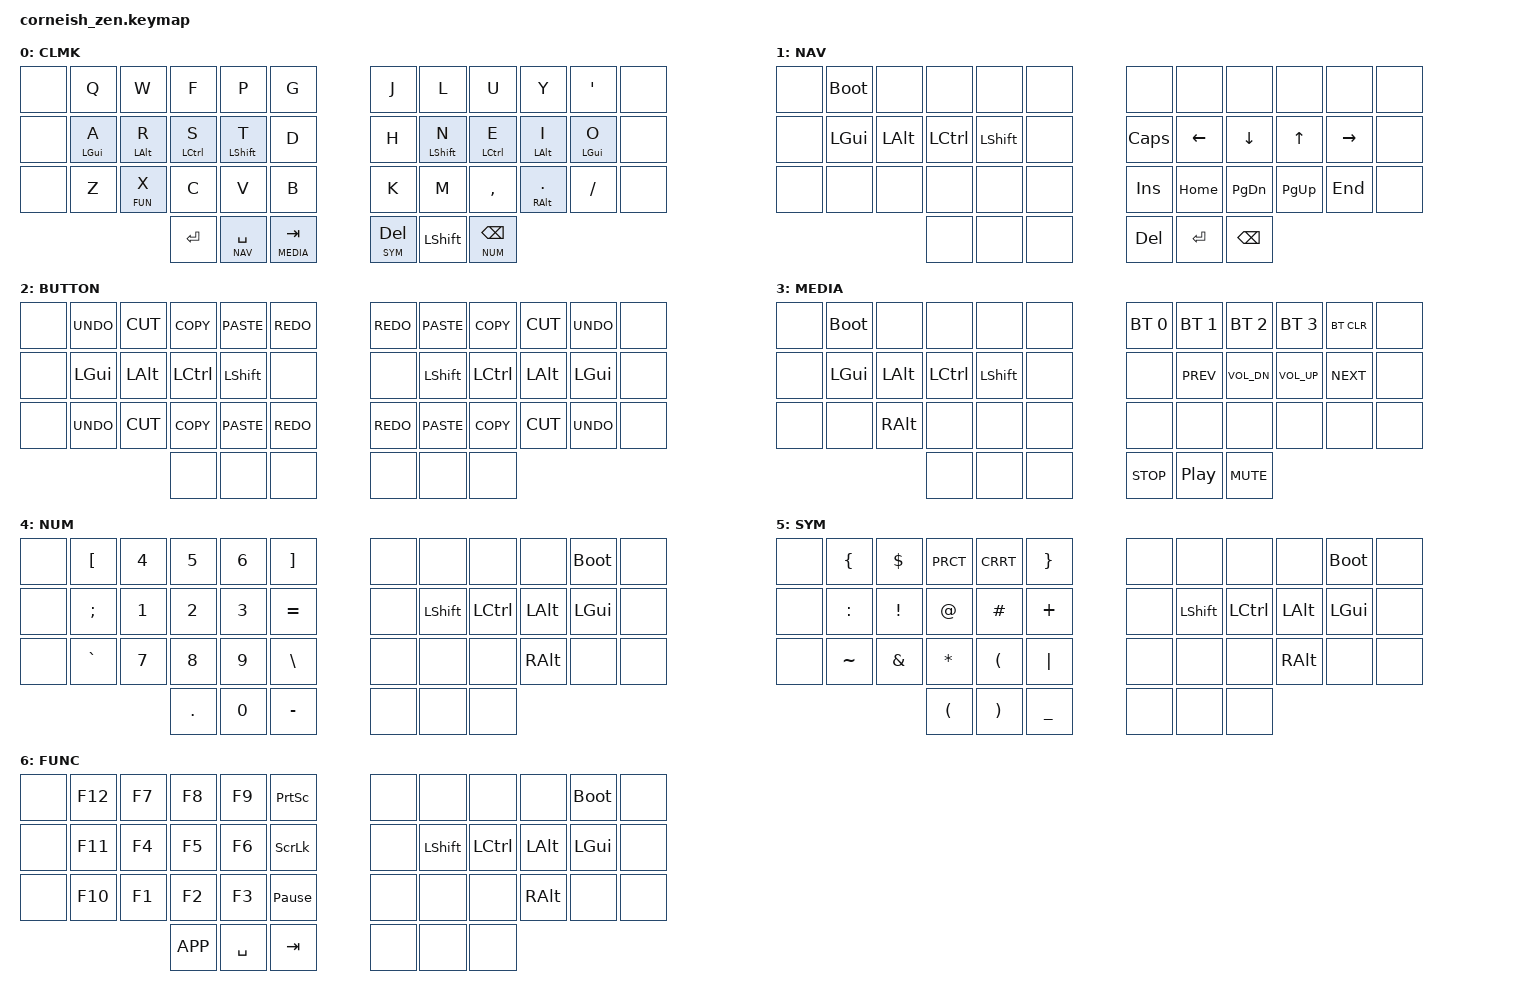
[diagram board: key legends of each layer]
#include <behaviors.dtsi>
#include <dt-bindings/zmk/keys.h>
#include <dt-bindings/zmk/bt.h>

#define BASE 0
#define NAV 1
#define BUTTON 2
#define MEDIA 3
#define NUM 4
#define SYM 5
#define FUN 6

#define U_BTN1 &none
#define U_BTN2 &none
#define U_BTN3 &none

/ {
  chosen {
    zmk,matrix_transform = &default_transform;
    //zmk,matrix_transform = &five_column_transform;
  };
};

&lt {
        tapping-term-ms = <200>;    // <---[[moderate duration]]
        flavor = "balanced";
};

/ {
        behaviors {
                hml: home_row_mod_left {
                        compatible = "zmk,behavior-hold-tap";
                        label = "HOME_ROW_MOD_LEFT";
                        #binding-cells = <2>;
                        flavor = "balanced";
                        require-prior-idle-ms = <150>;
                        tapping-term-ms = <280>;
                        quick-tap-ms = <175>;
                        bindings = <&kp>, <&kp>;
                        hold-trigger-key-positions = <6 7 8 9 10 11 18 19 20 21 22 23 30 31 32 33 34 35 39 40 41>;  // right hand + thumbs
                        hold-trigger-on-release;
                };
                hmr: home_row_mod_right {
                        compatible = "zmk,behavior-hold-tap";
                        label = "HOME_ROW_MOD_RIGHT";
                        #binding-cells = <2>;
                        flavor = "balanced";
                        require-prior-idle-ms = <150>;
                        tapping-term-ms = <280>;
                        quick-tap-ms = <175>;
                        bindings = <&kp>, <&kp>;
                        hold-trigger-key-positions = <0 1 2 3 4 5 12 13 14 15 16 17 24 25 26 27 28 29 36 37 38>;  // left hand + thumbs
                        hold-trigger-on-release;
                };
        };

        keymap {
                compatible = "zmk,keymap";

                base_layer {
                        label = "CLMK";
                        bindings = <
&none     &kp Q             &kp W             &kp F             &kp P             &kp G             &kp J             &kp L             &kp U             &kp Y             &kp SQT           &none
&none     &hml LGUI A       &hml LALT R       &hml LCTRL S      &hml LSHFT T      &kp D             &kp H             &hmr LSHFT N      &hmr LCTRL E      &hmr LALT I       &hmr LGUI O       &none
&none     &kp Z             &lt FUN X         &kp C             &kp V             &kp B             &kp K             &kp M             &kp COMMA         &hmr RALT DOT     &kp FSLH          &none
                                    &kp RET           &lt NAV SPC       &lt MEDIA TAB     &lt SYM DEL       &kp LSHFT         &lt NUM BSPC

                        >;
                };
                nav_layer {
                        label = "NAV";
                        bindings = <
&none     &bootloader       &none             &none             &none             &none             &none             &none             &none             &none             &none             &none
&none     &kp LGUI          &kp LALT          &kp LCTRL         &kp LSHFT         &none             &kp CAPS          &kp LEFT          &kp DOWN          &kp UP            &kp RIGHT         &none
&none     &none             &none             &none             &none             &none             &kp INS           &kp HOME          &kp PG_DN         &kp PG_UP         &kp END           &none
                                    &none             &none             &none             &kp DEL           &kp RET           &kp BSPC


                        >;
                };
                button_layer {
                        label = "BUTTON";
                        bindings = <
&none     &kp K_UNDO             &kp K_CUT             &kp K_COPY             &kp K_PASTE             &kp K_REDO             &kp K_REDO             &kp K_PASTE             &kp K_COPY             &kp K_CUT             &kp K_UNDO             &none
&none     &kp LGUI          &kp LALT          &kp LCTRL         &kp LSHFT         &none             &none             &kp LSHFT         &kp LCTRL         &kp LALT          &kp LGUI          &none
&none     &kp K_UNDO             &kp K_CUT             &kp K_COPY             &kp K_PASTE             &kp K_REDO             &kp K_REDO             &kp K_PASTE             &kp K_COPY             &kp K_CUT             &kp K_UNDO             &none
                                    U_BTN2            U_BTN3            U_BTN1            U_BTN1            U_BTN3            U_BTN2            
                        >;
                };
                media_layer {
                        label = "MEDIA";
                        bindings = <
&none     &bootloader       &none             &none             &none             &none             &bt BT_SEL 0      &bt BT_SEL 1      &bt BT_SEL 2      &bt BT_SEL 3      &bt BT_CLR        &none
&none     &kp LGUI          &kp LALT          &kp LCTRL         &kp LSHFT         &none             &none             &kp C_PREV        &kp C_VOL_DN      &kp C_VOL_UP      &kp C_NEXT        &none
&none     &none             &kp RALT          &none             &none             &none             &none             &none             &none             &none             &none             &none
                                    &none             &none             &none             &kp C_STOP        &kp C_PP          &kp C_MUTE

                        >;
                };
                num_layer {
                        label = "NUM";
                        bindings = <
&none     &kp LBKT          &kp NUM_4         &kp NUM_5         &kp NUM_6         &kp RBKT          &none             &none             &none             &none             &bootloader       &none
&none     &kp SEMI          &kp NUM_1         &kp NUM_2         &kp NUM_3         &kp EQL           &none             &kp LSHFT         &kp LCTRL         &kp LALT          &kp LGUI          &none
&none     &kp GRAVE         &kp NUM_7         &kp NUM_8         &kp NUM_9         &kp BSLH          &none             &none             &none             &kp RALT          &none             &none
                                                &kp DOT           &kp NUM_0         &kp MINUS         &none             &none             &none

                        >;
                };
                sym_layer {
                        label = "SYM";
                        bindings = <
&none     &kp LBRC          &kp DLLR          &kp PRCT          &kp CRRT          &kp RBRC          &none             &none             &none             &none             &bootloader       &none
&none     &kp COLON         &kp EXCL          &kp AT            &kp HASH          &kp PLUS          &none             &kp LSHFT         &kp LCTRL         &kp LALT          &kp LGUI          &none
&none     &kp TILDE         &kp AMPS          &kp ASTRK         &kp LPAR          &kp PIPE          &none             &none             &none             &kp RALT          &none             &none
                                    &kp LPAR          &kp RPAR          &kp UNDER         &none             &none             &none


                        >;
                };
                fun_layer {
                        label = "FUNC";
                        bindings = <
&none     &kp F12           &kp F7            &kp F8            &kp F9            &kp PSCRN         &none             &none             &none             &none             &bootloader       &none
&none     &kp F11           &kp F4            &kp F5            &kp F6            &kp SLCK          &none             &kp LSHFT         &kp LCTRL         &kp LALT          &kp LGUI          &none
&none     &kp F10           &kp F1            &kp F2            &kp F3            &kp PAUSE_BREAK   &none             &none             &none             &kp RALT          &none             &none
                                    &kp K_APP         &kp SPC           &kp TAB           &none             &none             &none

                        >;
                };
        };
};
